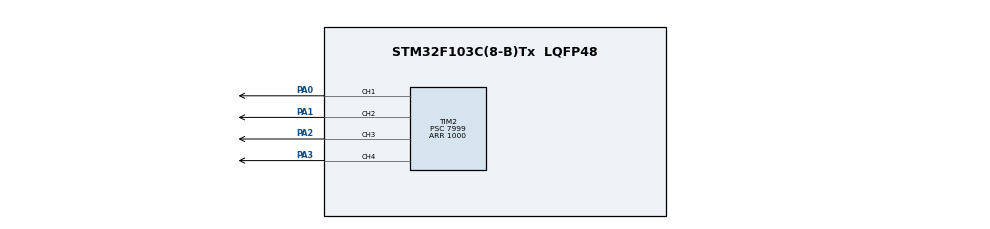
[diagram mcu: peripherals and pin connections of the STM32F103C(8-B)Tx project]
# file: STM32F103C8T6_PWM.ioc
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IWDG.Prescaler=IWDG_PRESCALER_256
Mcu.Family=STM32F1
Mcu.Name=STM32F103C(8-B)Tx
Mcu.Package=LQFP48
NVIC.PriorityGroup=NVIC_PRIORITYGROUP_4
PA0-WKUP.Signal=S_TIM2_CH1_ETR
PA1.Signal=S_TIM2_CH2
PA13.Mode=Serial_Wire
PA13.Signal=SYS_JTMS-SWDIO
PA14.Mode=Serial_Wire
PA14.Signal=SYS_JTCK-SWCLK
PA2.Signal=S_TIM2_CH3
PA3.Signal=S_TIM2_CH4
PD0-OSC_IN.Mode=HSE-External-Oscillator
PD0-OSC_IN.Signal=RCC_OSC_IN
PD1-OSC_OUT.Mode=HSE-External-Oscillator
PD1-OSC_OUT.Signal=RCC_OSC_OUT
ProjectManager.HeapSize=0x200
ProjectManager.StackSize=0x400
ProjectManager.TargetToolchain=STM32CubeIDE
RCC.APB1Freq_Value=8000000
RCC.APB2Freq_Value=8000000
RCC.SYSCLKSource=RCC_SYSCLKSOURCE_HSE
SH.S_TIM2_CH1_ETR.0=TIM2_CH1,PWM Generation1 CH1
SH.S_TIM2_CH2.0=TIM2_CH2,PWM Generation2 CH2
SH.S_TIM2_CH3.0=TIM2_CH3,PWM Generation3 CH3
SH.S_TIM2_CH4.0=TIM2_CH4,PWM Generation4 CH4
TIM2.AutoReloadPreload=TIM_AUTORELOAD_PRELOAD_ENABLE
TIM2.Channel-PWM\ Generation1\ CH1=TIM_CHANNEL_1
TIM2.Channel-PWM\ Generation2\ CH2=TIM_CHANNEL_2
TIM2.Channel-PWM\ Generation3\ CH3=TIM_CHANNEL_3
TIM2.Channel-PWM\ Generation4\ CH4=TIM_CHANNEL_4
TIM2.Period=1000
TIM2.Prescaler=7999
VP_IWDG_VS_IWDG.Mode=IWDG_Activate
VP_TIM2_VS_ClockSourceINT.Mode=Internal
board=custom

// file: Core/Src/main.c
/* USER CODE BEGIN Header */
/**
  ******************************************************************************
  * @file           : main.c
  * @brief          : Main program body
  ******************************************************************************
  * @attention
  *
  * Copyright (c) 2024 STMicroelectronics.
  * All rights reserved.
  *
  * This software is licensed under terms that can be found in the LICENSE file
  * in the root directory of this software component.
  * If no LICENSE file comes with this software, it is provided AS-IS.
  *
  ******************************************************************************
  */
/* USER CODE END Header */
#include "main.h"

IWDG_HandleTypeDef hiwdg;

TIM_HandleTypeDef htim2;

/* USER CODE BEGIN PV */
HAL_StatusTypeDef htim2_status;
/* USER CODE END PV */

void SystemClock_Config(void);
static void MX_GPIO_Init(void);
static void MX_TIM2_Init(void);
static void MX_IWDG_Init(void);

int main(void)
{

  /* MCU Configuration--------------------------------------------------------*/

  /* Reset of all peripherals, Initializes the Flash interface and the Systick. */
  HAL_Init();

  /* Configure the system clock */
  SystemClock_Config();

  /* Initialize all configured peripherals */
  MX_GPIO_Init();
  MX_TIM2_Init();
  MX_IWDG_Init();
  /* USER CODE BEGIN 2 */
  HAL_TIM_PWM_Start(&htim2, TIM_CHANNEL_1);
  HAL_TIM_PWM_Start(&htim2, TIM_CHANNEL_2);
  HAL_TIM_PWM_Start(&htim2, TIM_CHANNEL_3);
  HAL_TIM_PWM_Start(&htim2, TIM_CHANNEL_4);
  __HAL_TIM_SET_COMPARE(&htim2, TIM_CHANNEL_1, 100);
  __HAL_TIM_SET_COMPARE(&htim2, TIM_CHANNEL_2, 200);
  __HAL_TIM_SET_COMPARE(&htim2, TIM_CHANNEL_3, 300);
  __HAL_TIM_SET_COMPARE(&htim2, TIM_CHANNEL_4, 400);
  HAL_Delay(10000);
  HAL_TIM_PWM_Stop(&htim2, TIM_CHANNEL_1);
  HAL_TIM_PWM_Stop(&htim2, TIM_CHANNEL_2);
  HAL_TIM_PWM_Stop(&htim2, TIM_CHANNEL_3);
  HAL_TIM_PWM_Stop(&htim2, TIM_CHANNEL_4);
  //Testing if watch dog works
  HAL_IWDG_Refresh(&hiwdg);
  HAL_Delay(10000000);
  /* USER CODE END 2 */

  /* Infinite loop */
  while (1)
  {

  }
}

void SystemClock_Config(void)
{
  RCC_OscInitTypeDef RCC_OscInitStruct = {0};
  RCC_ClkInitTypeDef RCC_ClkInitStruct = {0};

  /** Initializes the RCC Oscillators according to the specified parameters
  * in the RCC_OscInitTypeDef structure.
  */
  RCC_OscInitStruct.OscillatorType = RCC_OSCILLATORTYPE_LSI|RCC_OSCILLATORTYPE_HSE;
  RCC_OscInitStruct.HSEState = RCC_HSE_ON;
  RCC_OscInitStruct.LSIState = RCC_LSI_ON;
  RCC_OscInitStruct.PLL.PLLState = RCC_PLL_NONE;
  if (HAL_RCC_OscConfig(&RCC_OscInitStruct) != HAL_OK)
  {
    Error_Handler();
  }

  /** Initializes the CPU, AHB and APB buses clocks
  */
  RCC_ClkInitStruct.ClockType = RCC_CLOCKTYPE_HCLK|RCC_CLOCKTYPE_SYSCLK
                              |RCC_CLOCKTYPE_PCLK1|RCC_CLOCKTYPE_PCLK2;
  RCC_ClkInitStruct.SYSCLKSource = RCC_SYSCLKSOURCE_HSE;
  RCC_ClkInitStruct.AHBCLKDivider = RCC_SYSCLK_DIV1;
  RCC_ClkInitStruct.APB1CLKDivider = RCC_HCLK_DIV1;
  RCC_ClkInitStruct.APB2CLKDivider = RCC_HCLK_DIV1;

  if (HAL_RCC_ClockConfig(&RCC_ClkInitStruct, FLASH_LATENCY_0) != HAL_OK)
  {
    Error_Handler();
  }
}

static void MX_IWDG_Init(void)
{

  hiwdg.Instance = IWDG;
  hiwdg.Init.Prescaler = IWDG_PRESCALER_256;
  hiwdg.Init.Reload = 4095;
  if (HAL_IWDG_Init(&hiwdg) != HAL_OK)
  {
    Error_Handler();
  }

}

static void MX_TIM2_Init(void)
{

  TIM_ClockConfigTypeDef sClockSourceConfig = {0};
  TIM_MasterConfigTypeDef sMasterConfig = {0};
  TIM_OC_InitTypeDef sConfigOC = {0};

  htim2.Instance = TIM2;
  htim2.Init.Prescaler = 7999;
  htim2.Init.CounterMode = TIM_COUNTERMODE_UP;
  htim2.Init.Period = 1000;
  htim2.Init.ClockDivision = TIM_CLOCKDIVISION_DIV1;
  htim2.Init.AutoReloadPreload = TIM_AUTORELOAD_PRELOAD_ENABLE;
  if (HAL_TIM_Base_Init(&htim2) != HAL_OK)
  {
    Error_Handler();
  }
  sClockSourceConfig.ClockSource = TIM_CLOCKSOURCE_INTERNAL;
  if (HAL_TIM_ConfigClockSource(&htim2, &sClockSourceConfig) != HAL_OK)
  {
    Error_Handler();
  }
  if (HAL_TIM_PWM_Init(&htim2) != HAL_OK)
  {
    Error_Handler();
  }
  sMasterConfig.MasterOutputTrigger = TIM_TRGO_RESET;
  sMasterConfig.MasterSlaveMode = TIM_MASTERSLAVEMODE_DISABLE;
  if (HAL_TIMEx_MasterConfigSynchronization(&htim2, &sMasterConfig) != HAL_OK)
  {
    Error_Handler();
  }
  sConfigOC.OCMode = TIM_OCMODE_PWM1;
  sConfigOC.Pulse = 0;
  sConfigOC.OCPolarity = TIM_OCPOLARITY_HIGH;
  sConfigOC.OCFastMode = TIM_OCFAST_DISABLE;
  if (HAL_TIM_PWM_ConfigChannel(&htim2, &sConfigOC, TIM_CHANNEL_1) != HAL_OK)
  {
    Error_Handler();
  }
  if (HAL_TIM_PWM_ConfigChannel(&htim2, &sConfigOC, TIM_CHANNEL_2) != HAL_OK)
  {
    Error_Handler();
  }
  if (HAL_TIM_PWM_ConfigChannel(&htim2, &sConfigOC, TIM_CHANNEL_3) != HAL_OK)
  {
    Error_Handler();
  }
  if (HAL_TIM_PWM_ConfigChannel(&htim2, &sConfigOC, TIM_CHANNEL_4) != HAL_OK)
  {
    Error_Handler();
  }
  HAL_TIM_MspPostInit(&htim2);

}

static void MX_GPIO_Init(void)
{

  /* GPIO Ports Clock Enable */
  __HAL_RCC_GPIOD_CLK_ENABLE();
  __HAL_RCC_GPIOA_CLK_ENABLE();

}

void Error_Handler(void)
{
  __disable_irq();
  while (1)
  {
  }
}
